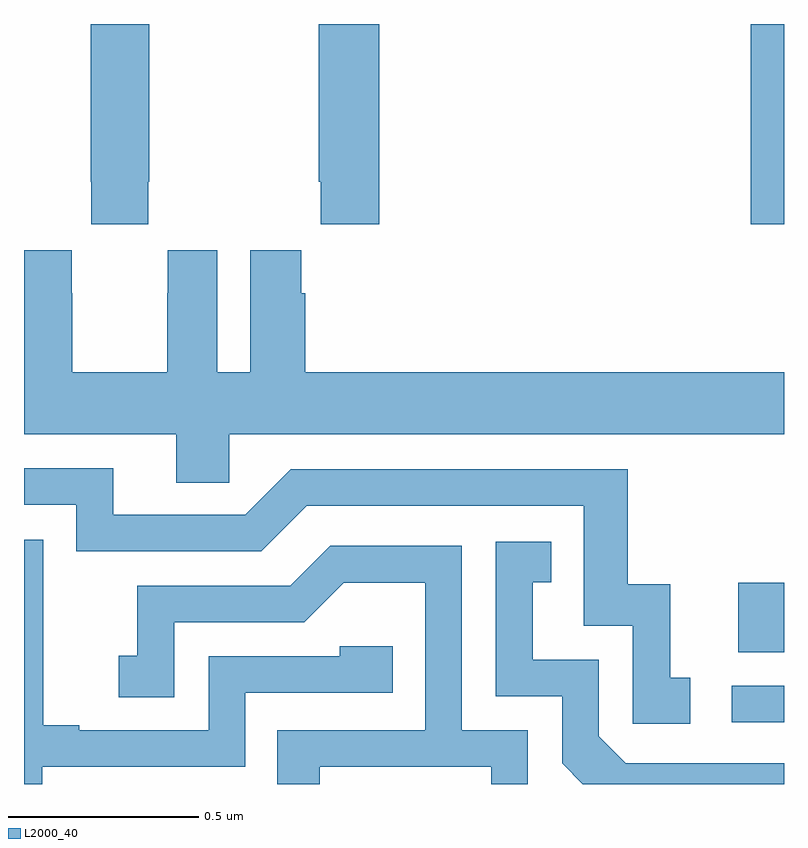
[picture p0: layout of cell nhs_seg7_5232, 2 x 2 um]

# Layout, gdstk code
import gdstk
lib = gdstk.Library(unit=1e-6, precision=1e-09)
def R(c, l, rs):  # rectangles x0, y0, x1, y1
    for r in rs: c.add(gdstk.rectangle(r[:2], r[2:], *l))
def P(c, l, *ps):  # polygons
    for p in ps: c.add(gdstk.Polygon(p, *l))
L2000_40 = (2000, 40)

nhs_seg7_5232 = lib.new_cell('nhs_seg7_5232')
R(nhs_seg7_5232, L2000_40, [(184.863,1029.162,185,1029.258), (184.88,1029.347,185,1029.529), (184.913,1030.473,185,1031)])
P(nhs_seg7_5232, L2000_40, [(183.935,1031),(183.775,1031),(183.775,1030.585),(183.781,1030.585),(183.781,1030.473),(183.935,1030.473)],
  [(183.327,1030.585),(183.33,1030.585),(183.33,1031),(183.175,1031),(183.175,1030.585),(183.177,1030.585),(183.177,1030.473),(183.327,1030.473)],
  [(183.54,1029.92),(185,1029.92),(185,1030.084),(183.74,1030.084),(183.74,1030.292),(183.73,1030.292),(183.73,1030.405),(183.596,1030.405),(183.596,1030.084),(183.508,1030.084),(183.508,1030.405),(183.378,1030.405),(183.378,1030.292),(183.377,1030.292),(183.377,1030.084),(183.127,1030.084),(183.127,1030.292),(183.126,1030.292),(183.126,1030.405),(183,1030.405),(183,1029.92),(183.401,1029.92),(183.401,1029.793),(183.54,1029.793)],
  [(184.753,1029.279),(184.7,1029.279),(184.7,1029.526),(184.589,1029.526),(184.589,1029.828),(183.702,1029.828),(183.582,1029.708),(183.235,1029.708),(183.235,1029.831),(183,1029.831),(183,1029.735),(183.138,1029.735),(183.138,1029.612),(183.624,1029.612),(183.744,1029.732),(184.473,1029.732),(184.473,1029.417),(184.602,1029.417),(184.602,1029.159),(184.753,1029.159)],
  [(183.048,1029.045),(183.582,1029.045),(183.582,1029.24),(183.971,1029.24),(183.971,1029.363),(183.831,1029.363),(183.831,1029.336),(183.486,1029.336),(183.486,1029.141),(183.145,1029.141),(183.145,1029.154),(183.05,1029.154),(183.05,1029.437),(183.051,1029.437),(183.051,1029.643),(183,1029.643),(183,1029),(183.048,1029)],
  [(185,1029.054),(184.584,1029.054),(184.512,1029.126),(184.512,1029.327),(184.339,1029.327),(184.339,1029.531),(184.388,1029.531),(184.388,1029.637),(184.242,1029.637),(184.242,1029.231),(184.416,1029.231),(184.416,1029.054),(184.471,1029),(185,1029)],
  [(183.778,1029.045),(184.229,1029.045),(184.229,1029),(184.326,1029),(184.326,1029.141),(184.152,1029.141),(184.152,1029.627),(183.806,1029.627),(183.701,1029.522),(183.298,1029.522),(183.298,1029.337),(183.249,1029.337),(183.249,1029.228),(183.396,1029.228),(183.396,1029.426),(183.738,1029.426),(183.842,1029.53),(184.056,1029.53),(184.056,1029.141),(183.667,1029.141),(183.667,1029),(183.778,1029)])

lib.write_gds('nhs_seg7_5232.gds')
